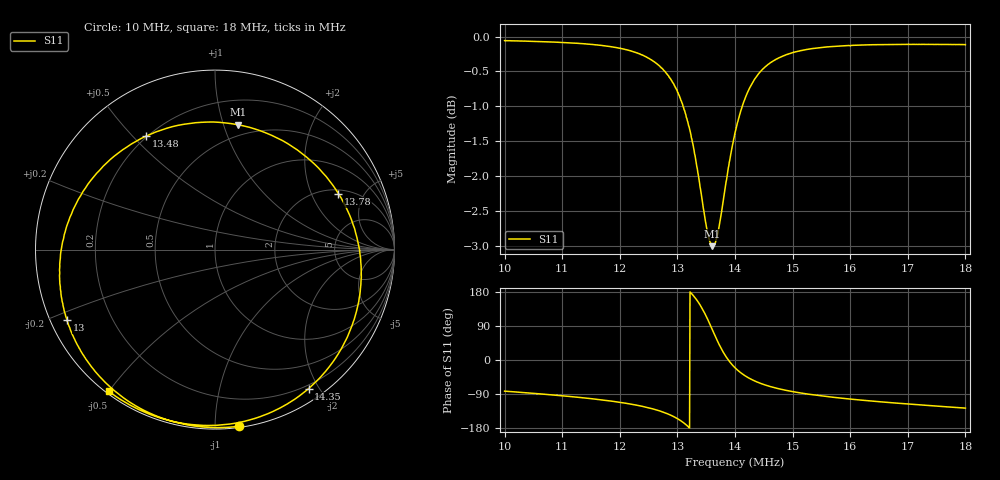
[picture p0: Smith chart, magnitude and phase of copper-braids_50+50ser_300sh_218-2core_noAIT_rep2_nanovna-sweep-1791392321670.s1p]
! NanoVNA Web complex sweep
! Processing: unaveraged complex samples; linear segment spacing; no smoothing
# Hz S RI R 50
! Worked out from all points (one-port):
!   1010 points, 10 MHz to 18 MHz, reference 50 ohm
!   lowest |S11| = -3.0 dB at 13.61 MHz (marker M1), VSWR 5.83, Z = 20.1 + j55.8 ohm
!   |S11| at or under -10 dB: nowhere
!   S11 on the Smith chart (normalised r, x): 10 MHz: 0.01, -1.15; 13 MHz: 0.05, -0.23; 13.48 MHz: 0.19, +0.54; 13.78 MHz: 2.21, +3.21; 14.35 MHz: 0.16, -1.87; 18 MHz: 0.01, -0.50
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1e7  0.1353 -0.9842
1.100698e7  -0.0781 -0.9872
1.200604e7  -0.364 -0.9107
1.233906e7  -0.4949 -0.8365
1.260864e7  -0.6226 -0.7286
1.282272e7  -0.7362 -0.5843
1.299716e7  -0.8249 -0.3943
1.300509e7  -0.8273 -0.3828
1.316367e7  -0.8663 -0.1136
1.328261e7  -0.8155 0.1589
1.338568e7  -0.6594 0.4252
1.348083e7  -0.3857 0.6316
1.354426e7  -0.1421 0.7025
1.36077e7  0.1271 0.6956
1.365527e7  0.3171 0.6361
1.370284e7  0.4858 0.5344
1.378213e7  0.688 0.3112
1.382971e7  0.761 0.1647
1.388521e7  0.8055 -0.0017
1.400414e7  0.7971 -0.3066
1.416272e7  0.6851 -0.5833
1.435302e7  0.5214 -0.7744
1.462261e7  0.3199 -0.9032
1.50032e7  0.1106 -0.9674
1.544722e7  -0.0634 -0.9796
1.600225e7  -0.2228 -0.9594
1.700131e7  -0.4343 -0.8865
1.800036e7  -0.5932 -0.7886
